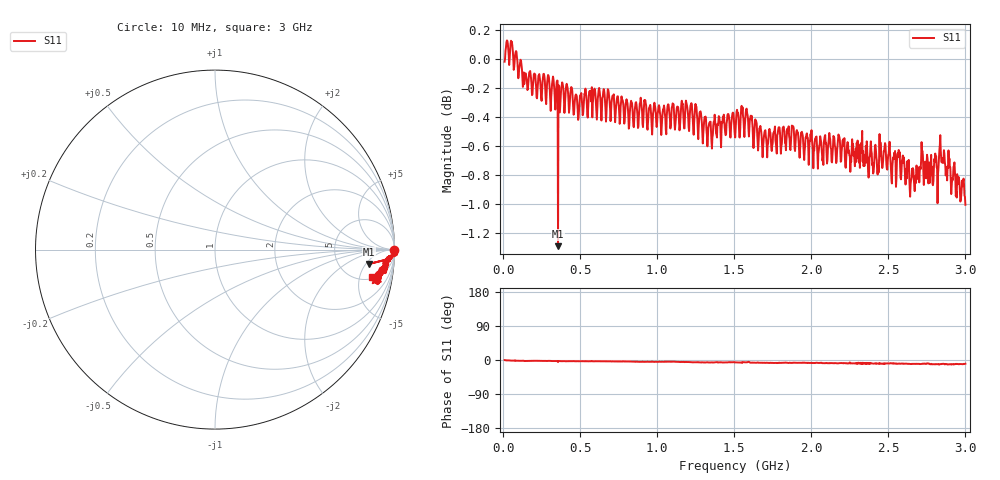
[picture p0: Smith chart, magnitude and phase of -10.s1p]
# HZ S RI R 50
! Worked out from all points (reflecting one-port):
!   1010 points, 10 MHz to 3 GHz, reference 50 ohm
!   lowest |S11| = -1.3 dB at 356.7 MHz (marker M1), VSWR 13.47, Z = 485 - j301 ohm
!   phase of S11 starts at -0 deg and turns -10 deg over the sweep
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1e7  0.9978 -0.0048
9.88999e7  0.9842 -0.0328
1.433498e8  0.9866 -0.0442
3.389296e8  0.9595 -0.0459
3.41893e8  0.9671 -0.0479
3.567096e8  0.8581 -0.0799
3.863429e8  0.979 -0.0536
7.597225e8  0.9504 -0.0639
8.841824e8  0.9569 -0.0803
1.133102e9  0.9594 -0.0803
1.299049e9  0.9366 -0.1052
1.506482e9  0.9339 -0.103
1.536115e9  0.9332 -0.1087
1.583528e9  0.9524 -0.1032
1.622052e9  0.9307 -0.1182
1.767255e9  0.929 -0.1276
1.879861e9  0.9394 -0.127
2.253241e9  0.9028 -0.1445
2.315471e9  0.9042 -0.1536
2.463637e9  0.9064 -0.1515
2.525867e9  0.9056 -0.1501
2.62662e9  0.9026 -0.1592
2.703667e9  0.8989 -0.1696
2.748117e9  0.9065 -0.1546
2.78664e9  0.8881 -0.1765
2.84887e9  0.9099 -0.1635
2.896283e9  0.9057 -0.1827
3e9  0.8775 -0.1522
